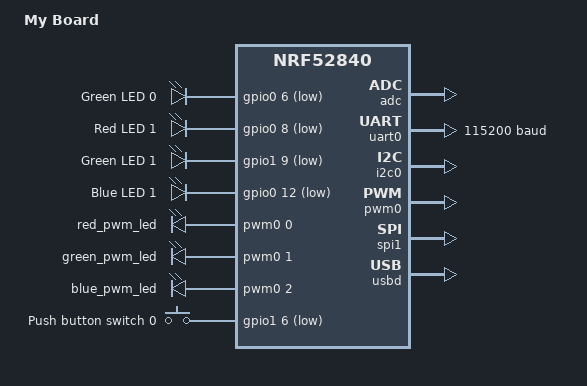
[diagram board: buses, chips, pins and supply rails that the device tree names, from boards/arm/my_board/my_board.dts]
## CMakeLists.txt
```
list(APPEND OVERLAY_CONFIG "ble.conf")
list(APPEND OVERLAY_CONFIG "home-assistant.conf")
list(APPEND OVERLAY_CONFIG "secret.conf")

cmake_minimum_required(VERSION 3.20.0)
list(APPEND BOARD_ROOT ${CMAKE_CURRENT_SOURCE_DIR})
find_package(Zephyr REQUIRED HINTS $ENV{ZEPHYR_BASE})

execute_process(COMMAND git describe
                WORKING_DIRECTORY ${CMAKE_CURRENT_SOURCE_DIR}
                OUTPUT_VARIABLE GIT_DESCRIBE
                ERROR_QUIET)
string(STRIP "${GIT_DESCRIBE}" GIT_DESCRIBE)
STRING(REGEX MATCH "[0-9]+\\.[0-9]+\\.[0-9]+"
       VERSION "${GIT_DESCRIBE}")

project(app LANGUAGES C VERSION ${VERSION})


configure_file(app_version.h.in ${CMAKE_BINARY_DIR}/app/include/app_version.h)
zephyr_include_directories(
    ${CMAKE_BINARY_DIR}/app/include
)
target_include_directories(app PRIVATE ${CMAKE_BINARY_DIR}/app/include src)

zephyr_include_directories(
       configuration/${BOARD})

target_sources(app PRIVATE
        src/main.c)
```

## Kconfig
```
mainmenu "Main Application"

config APP_SUSPEND_CONSOLE
	bool "Suspend console"
	help
	  Suspend console.

config APP_WATCHDOG_TIMEOUT_SEC
	int "Watchdog timeout (sec)"
	default 30
	help
	  Watchdog timeout in seconds.

config APP_MAIN_LOOP_PERIOD_SEC
	int "Main loop period (sec)"
	default 10
	help
	  Main loop period in seconds.

source "Kconfig.zephyr"
```

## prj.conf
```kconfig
CONFIG_SERIAL=y
CONFIG_HEAP_MEM_POOL_SIZE=2048

CONFIG_PM_DEVICE=y

CONFIG_CAF=y
CONFIG_CAF_BUTTONS=y
CONFIG_CAF_BUTTONS_POLARITY_INVERSED=y

CONFIG_MY_MODULE_BASE_RESET=y
CONFIG_MY_MODULE_BASE_WATCHDOG=y
CONFIG_MY_MODULE_BASE_WATCHDOG_TIMEOUT_SEC=30

CONFIG_MY_MODULE_BASE_HOME_ASSISTANT=y
CONFIG_MY_MODULE_BASE_HA_DEVICE_NAME="SOLIX F2000"
CONFIG_MY_MODULE_BASE_HA_DEV_TYPE_POWER_STATION=y
CONFIG_MY_MODULE_BASE_HA_MQTT_SERVER_HOSTNAME="home.home.arpa"

#CONFIG_MAIN_STACK_SIZE=4096
#CONFIG_SYSTEM_WORKQUEUE_STACK_SIZE=2048
CONFIG_LOG_BUFFER_SIZE=16384

CONFIG_THREAD_NAME=y
CONFIG_EVENTS=y
CONFIG_CONSOLE=y
CONFIG_UART_CONSOLE=y

CONFIG_THREAD_ANALYZER=y
CONFIG_LOG_SPEED=y
CONFIG_LOG=y
```

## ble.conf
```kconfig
CONFIG_BT_BUF_ACL_TX_SIZE=251
CONFIG_BT_BUF_ACL_RX_SIZE=251
CONFIG_BT_L2CAP_TX_MTU=247
CONFIG_BT_CTLR_DATA_LENGTH_MAX=251
CONFIG_BT_SCAN=y
CONFIG_BT_SCAN_FILTER_ENABLE=y
CONFIG_BT_SCAN_NAME_CNT=1
CONFIG_BT_SCAN_CONN_ATTEMPTS_FILTER=y
CONFIG_BT_CENTRAL=y
CONFIG_BT_BROADCASTER=y
CONFIG_BT_EXT_ADV=y
CONFIG_BT_PER_ADV=y
CONFIG_BT_GATT_LOG_LEVEL_DBG=y
# CONFIG_BT_LOG_LEVEL_DBG=y
CONFIG_BT_GATT_CLIENT=y
CONFIG_BT_GATT_AUTO_UPDATE_MTU=y
# CONFIG_BT_GATT_AUTO_DISCOVER_CCC=y
CONFIG_BT=y
# CONFIG_BT_LL_SW_SPLIT=y
CONFIG_BT_CTLR_PRIVACY=y
CONFIG_BT_CTLR_PHY_CODED=y
CONFIG_BT_CTLR_ADV_DATA_LEN_MAX=31
# CONFIG_BT_CTLR_ADV_PERIODIC_ADI_SUPPORT is not set
# CONFIG_BT_HCI_RAW=y
```

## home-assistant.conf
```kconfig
CONFIG_MY_MODULE_BASE_HOME_ASSISTANT=y
CONFIG_MY_MODULE_BASE_HA_DEVICE_NAME="SOLIX F2000"
CONFIG_MY_MODULE_BASE_HA_DEV_TYPE_POWER_STATION=y
CONFIG_MY_MODULE_BASE_HA_MQTT_SERVER_HOSTNAME="home.home.arpa"

CONFIG_OPENTHREAD_CHANNEL=15
CONFIG_OPENTHREAD_NETWORK_NAME="home"
CONFIG_OPENTHREAD_XPANID="42:24:00:00:00:00:10:00"
CONFIG_OPENTHREAD_MTD=y
CONFIG_OPENTHREAD_MTD_SED=y

CONFIG_MY_MODULE_BASE_HA_USE_TEST_DISCOVERY_TOPIC=y

CONFIG_DNS_SERVER_IP_ADDRESSES=y
CONFIG_DNS_SERVER1="fd04:2240::1"
```

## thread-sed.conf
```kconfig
CONFIG_OPENTHREAD_CHANNEL=15
CONFIG_OPENTHREAD_NETWORK_NAME="home"
CONFIG_OPENTHREAD_XPANID="42:24:00:00:00:00:10:00"
# CONFIG_OPENTHREAD_MTD_SED=y

CONFIG_MY_MODULE_BASE_HA_USE_TEST_DISCOVERY_TOPIC=y
```

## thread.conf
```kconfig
CONFIG_OPENTHREAD_CHANNEL=15
CONFIG_OPENTHREAD_NETWORK_NAME="home"
CONFIG_OPENTHREAD_XPANID="42:24:00:00:00:00:10:00"
CONFIG_OPENTHREAD_MTD=y
CONFIG_OPENTHREAD_MTD_SED=y

CONFIG_MY_MODULE_BASE_HA_USE_TEST_DISCOVERY_TOPIC=y
```

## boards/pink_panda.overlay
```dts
/ {
	/*
	* In some default configurations within the nRF Connect SDK,
	* e.g. on nRF52840, the chosen zephyr,entropy node is &cryptocell.
	* This devicetree overlay ensures that default is overridden wherever it
	* is set, as this application uses the RNG node for entropy exclusively.
	*/
	chosen {
		zephyr,entropy = &rng;
		// zephyr,bt-hci = &bt_hci_controller;
	};
};
&pinctrl {
	i2c0_default: i2c0_default {
		group1 {
			psels = <NRF_PSEL(TWIM_SDA, 0, 26)>,
				<NRF_PSEL(TWIM_SCL, 0, 27)>;
		};
	};

	i2c0_sleep: i2c0_sleep {
		group1 {
			psels = <NRF_PSEL(TWIM_SDA, 0, 26)>,
				<NRF_PSEL(TWIM_SCL, 0, 27)>;
			low-power-enable;
		};
	};

	i2c1_default: i2c1_default {
		group1 {
			psels = <NRF_PSEL(TWIM_SDA, 0, 30)>,
				<NRF_PSEL(TWIM_SCL, 0, 31)>;
		};
	};

	i2c1_sleep: i2c1_sleep {
		group1 {
			psels = <NRF_PSEL(TWIM_SDA, 0, 30)>,
				<NRF_PSEL(TWIM_SCL, 0, 31)>;
			low-power-enable;
		};
	};

	pwm0_default: pwm0_default {
		group1 {
			psels = <NRF_PSEL(PWM_OUT0, 0, 8)>,
				<NRF_PSEL(PWM_OUT1, 1, 9)>,
				<NRF_PSEL(PWM_OUT2, 0, 12)>;
			nordic,invert;
		};
	};

	pwm0_sleep: pwm0_sleep {
		group1 {
			psels = <NRF_PSEL(PWM_OUT0, 0, 8)>,
				<NRF_PSEL(PWM_OUT1, 1, 9)>,
				<NRF_PSEL(PWM_OUT2, 0, 12)>;
			low-power-enable;
		};
	};

	spi0_default: spi0_default {
		group1 {
			psels = <NRF_PSEL(SPIM_SCK, 0, 27)>,
				<NRF_PSEL(SPIM_MOSI, 0, 26)>,
				<NRF_PSEL(SPIM_MISO, 1, 10)>;
		};
	};

	spi0_sleep: spi0_sleep {
		group1 {
			psels = <NRF_PSEL(SPIM_SCK, 0, 27)>,
				<NRF_PSEL(SPIM_MOSI, 0, 26)>,
				<NRF_PSEL(SPIM_MISO, 1, 10)>;
			low-power-enable;
		};
	};

	spi1_default: spi1_default {
		group1 {
			psels = <NRF_PSEL(SPIM_SCK, 0, 31)>,
				<NRF_PSEL(SPIM_MOSI, 0, 30)>,
				<NRF_PSEL(SPIM_MISO, 1, 13)>;
		};
	};

	spi1_sleep: spi1_sleep {
		group1 {
			psels = <NRF_PSEL(SPIM_SCK, 0, 31)>,
				<NRF_PSEL(SPIM_MOSI, 0, 30)>,
				<NRF_PSEL(SPIM_MISO, 1, 13)>;
			low-power-enable;
		};
	};

};
&adc {
	status = "disabled";
};
&uart1 {
	status = "disabled";
};
&pwm0 {
	status = "disabled";
};
&i2c0 {
	status = "disabled";
};
&spi0 {
	status = "disabled";
};
&spi1 {
	status = "disabled";
};
&spi2 {
	status = "disabled";
};
&spi3 {
	status = "disabled";
};
&qspi {
	status = "disabled";
};
&usbd {
	status = "disabled";
};
&gpio0 {
	status = "okay";
};
&gpio1 {
	status = "disabled";
};
&gpiote {
    status = "okay";
};
&ieee802154 {
	status = "okay";
};
// &bt_hci_controller {
//         status = "okay";
// };
// &bt_hci_sdc {
//         status = "disabled";
// };
```

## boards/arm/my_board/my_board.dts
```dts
/*
 * Copyright (c) 2018 Nordic Semiconductor ASA
 * Copyright (c) 2017 Linaro Limited
 *
 * SPDX-License-Identifier: Apache-2.0
 */

/dts-v1/;
#include <nordic/nrf52840_qiaa.dtsi>
#include "my_board-pinctrl.dtsi"

/ {
	model = "My Board";
	compatible = "gervais,my-board";

	chosen {
		zephyr,console = &uart0;
		zephyr,shell-uart = &uart0;
		zephyr,uart-mcumgr = &uart0;
		zephyr,bt-mon-uart = &uart0;
		zephyr,bt-c2h-uart = &uart0;
		zephyr,sram = &sram0;
		zephyr,flash = &flash0;
		zephyr,code-partition = &slot0_partition;
	};

	leds {
		compatible = "gpio-leds";
		led0_green: led_0 {
			gpios = <&gpio0 6 GPIO_ACTIVE_LOW>;
			label = "Green LED 0";
		};
		led1_red: led_1 {
			gpios = <&gpio0 8 GPIO_ACTIVE_LOW>;
			label = "Red LED 1";
		};
		led1_green: led_2 {
			gpios = <&gpio1 9 GPIO_ACTIVE_LOW>;
			label = "Green LED 1";
		};
		led1_blue: led_3 {
			gpios = <&gpio0 12 GPIO_ACTIVE_LOW>;
			label = "Blue LED 1";
		};
	};

	pwmleds {
		compatible = "pwm-leds";
		red_pwm_led: pwm_led_0 {
			pwms = <&pwm0 0 PWM_MSEC(20) PWM_POLARITY_INVERTED>;
		};
		green_pwm_led: pwm_led_1 {
			pwms = <&pwm0 1 PWM_MSEC(20) PWM_POLARITY_INVERTED>;
		};
		blue_pwm_led: pwm_led_2 {
			pwms = <&pwm0 2 PWM_MSEC(20) PWM_POLARITY_INVERTED>;
		};
	};

	buttons {
		compatible = "gpio-keys";
		button0: button_0 {
			gpios = <&gpio1 6 (GPIO_PULL_UP | GPIO_ACTIVE_LOW)>;
			label = "Push button switch 0";
		};
	};

	/* These aliases are provided for compatibility with samples */
	aliases {
		sw0 = &button0;
		led0 = &led0_green;
		led1 = &led1_red;
		led2 = &led1_green;
		led3 = &led1_blue;
		led0-green = &led0_green;
		led1-red   = &led1_red;
		led1-green = &led1_green;
		led1-blue  = &led1_blue;
		pwm-led0 = &red_pwm_led;
		pwm-led1 = &green_pwm_led;
		pwm-led2 = &blue_pwm_led;
		red-pwm-led = &red_pwm_led;
		green-pwm-led = &green_pwm_led;
		blue-pwm-led = &blue_pwm_led;
		mcuboot-button0 = &button0;
		mcuboot-led0 = &led0_green;
		watchdog0 = &wdt0;
	};
};

&adc {
	status = "okay";
};

&gpiote {
	status = "okay";
};

&gpio0 {
	status = "okay";
};

&gpio1 {
	status = "okay";
};

&uart0 {
	compatible = "nordic,nrf-uarte";
	status = "okay";
	current-speed = <115200>;
	pinctrl-0 = <&uart0_default>;
	pinctrl-1 = <&uart0_sleep>;
	pinctrl-names = "default", "sleep";
};

&i2c0 {
	compatible = "nordic,nrf-twi";
	status = "okay";
	pinctrl-0 = <&i2c0_default>;
	pinctrl-1 = <&i2c0_sleep>;
	pinctrl-names = "default", "sleep";
};

&i2c1 {
	compatible = "nordic,nrf-twi";
	/* Cannot be used together with spi1. */
	/* status = "okay"; */
	pinctrl-0 = <&i2c1_default>;
	pinctrl-1 = <&i2c1_sleep>;
	pinctrl-names = "default", "sleep";
};

&pwm0 {
	status = "okay";
	pinctrl-0 = <&pwm0_default>;
	pinctrl-1 = <&pwm0_sleep>;
	pinctrl-names = "default", "sleep";
};

/*
 * By default, not adding all available SPI instances (spi2, spi3) due to
 * limited GPIOs available on dongle board.
 */
&spi0 {
	compatible = "nordic,nrf-spi";
	/* Cannot be used together with i2c0. */
	/* status = "okay"; */
	pinctrl-0 = <&spi0_default>;
	pinctrl-1 = <&spi0_sleep>;
	pinctrl-names = "default", "sleep";
};

&spi1 {
	compatible = "nordic,nrf-spi";
	status = "okay";
	pinctrl-0 = <&spi1_default>;
	pinctrl-1 = <&spi1_sleep>;
	pinctrl-names = "default", "sleep";
};

/* Include flash partition table.
 * Two partition tables are available:
 * fstab-stock		-compatible with Nordic nRF5 bootloader, default
 * fstab-debugger	-to use an external debugger, w/o the nRF5 bootloader
 */
#include "fstab-debugger.dts"

zephyr_udc0: &usbd {
	compatible = "nordic,nrf-usbd";
	status = "okay";
};
```

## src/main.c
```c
#include <app_event_manager.h>
#include <zephyr/drivers/gpio.h>
#include <zephyr/drivers/watchdog.h>
#include <zephyr/kernel.h>
#include <zephyr/pm/device.h>
#include <zephyr/debug/thread_analyzer.h>

#include <zephyr/bluetooth/bluetooth.h>
// #include <zephyr/bluetooth/hci.h>
// #include <zephyr/bluetooth/conn.h>
#include <zephyr/bluetooth/uuid.h>
#include <zephyr/bluetooth/gatt.h>
// #include <bluetooth/gatt_dm.h>
#include <bluetooth/scan.h>

#define MODULE main
#include <caf/events/module_state_event.h>
#include <caf/events/button_event.h>

#include <zephyr/logging/log.h>
LOG_MODULE_REGISTER(main, LOG_LEVEL_DBG);

#include <app_version.h>
#include <mymodule/base/ha.h>
#include <mymodule/base/openthread.h>
#include <mymodule/base/reset.h>
#include <mymodule/base/watchdog.h>


#define BUTTON_PRESS_EVENT		BIT(0)

// #define ADV_NAME_STR_MAX_LEN (sizeof(CONFIG_BT_DEVICE_NAME))
#define ADV_NAME_STR_MAX_LEN 64


static K_EVENT_DEFINE(button_events);


static struct bt_conn *default_conn = NULL;
static struct bt_gatt_subscribe_params subscribe_params;
static struct bt_gatt_write_params write_params;



static uint8_t last_notify_data_244[244];
static uint8_t last_notify_data_34[34];


static uint8_t iphone_init_replay[][128] = {
	{
		0xff, 0x09, 0x36, 0x00, 0x03, 0x00, 0x01, 0x00, 0x01, 0xa1, 0x04, 0xfd, 0x72, 0x6d, 0x67, 0xa2,
		0x24, 0x64, 0x35, 0x38, 0x66, 0x36, 0x38, 0x30, 0x65, 0x2d, 0x32, 0x39, 0x34, 0x37, 0x2d, 0x34,
		0x33, 0x32, 0x39, 0x2d, 0x62, 0x39, 0x63, 0x62, 0x2d, 0x63, 0x39, 0x35, 0x32, 0x30, 0x30, 0x35,
		0x34, 0x36, 0x34, 0x61, 0x35, 0x65,
	},
	{
		0xff, 0x09, 0x3d, 0x00, 0x03, 0x00, 0x01, 0x00, 0x03, 0xa1, 0x04, 0xfd, 0x72, 0x6d, 0x67, 0xa2,
		0x24, 0x64, 0x35, 0x38, 0x66, 0x36, 0x38, 0x30, 0x65, 0x2d, 0x32, 0x39, 0x34, 0x37, 0x2d, 0x34,
		0x33, 0x32, 0x39, 0x2d, 0x62, 0x39, 0x63, 0x62, 0x2d, 0x63, 0x39, 0x35, 0x32, 0x30, 0x30, 0x35,
		0x34, 0x36, 0x34, 0x61, 0x35, 0xa3, 0x01, 0x20, 0xa4, 0x02, 0x00, 0xf0, 0xb8,
	},
	{
		0xff, 0x09, 0x36, 0x00, 0x03, 0x00, 0x01, 0x00, 0x29, 0xa1, 0x04, 0xfd, 0x72, 0x6d, 0x67, 0xa2,
		0x24, 0x64, 0x35, 0x38, 0x66, 0x36, 0x38, 0x30, 0x65, 0x2d, 0x32, 0x39, 0x34, 0x37, 0x2d, 0x34,
		0x33, 0x32, 0x39, 0x2d, 0x62, 0x39, 0x63, 0x62, 0x2d, 0x63, 0x39, 0x35, 0x32, 0x30, 0x30, 0x35,
		0x34, 0x36, 0x34, 0x61, 0x35, 0x4d,
	},
	{
		0xff, 0x09, 0x40, 0x00, 0x03, 0x00, 0x01, 0x00, 0x05, 0xa1, 0x04, 0xfd, 0x72, 0x6d, 0x67, 0xa2,
		0x24, 0x64, 0x35, 0x38, 0x66, 0x36, 0x38, 0x30, 0x65, 0x2d, 0x32, 0x39, 0x34, 0x37, 0x2d, 0x34,
		0x33, 0x32, 0x39, 0x2d, 0x62, 0x39, 0x63, 0x62, 0x2d, 0x63, 0x39, 0x35, 0x32, 0x30, 0x30, 0x35,
		0x34, 0x36, 0x34, 0x61, 0x35, 0xa3, 0x01, 0x20, 0xa4, 0x02, 0x00, 0xf0, 0xa5, 0x01, 0x02, 0x65,
	},
	{
		0xff, 0x09, 0x5a, 0x00, 0x03, 0x00, 0x01, 0x40, 0x22, 0x4e, 0xe0, 0xfe, 0x87, 0xd5, 0xb4, 0xf2,
		0x5f, 0x17, 0x0e, 0xbf, 0x6e, 0xcd, 0xea, 0xaf, 0x3f, 0x84, 0x2a, 0xe7, 0x10, 0x9c, 0x9e, 0x2d,
		0xf7, 0x66, 0x4e, 0xf5, 0x59, 0xbe, 0x7f, 0xc9, 0x8f, 0x46, 0x0d, 0x60, 0xbd, 0x32, 0x2a, 0x83,
		0xbd, 0xb2, 0xcf, 0x3c, 0xbb, 0x71, 0x25, 0xc3, 0x45, 0xe0, 0x49, 0x09, 0x48, 0x1a, 0x48, 0xd2,
		0xd9, 0xba, 0xcb, 0x6a, 0x50, 0xdd, 0xdf, 0xb2, 0x10, 0x71, 0x6e, 0x2c, 0xd9, 0x7e, 0x05, 0x51,
		0xc1, 0x1c, 0xa3, 0xd1, 0x1a, 0x10, 0x49, 0x5a, 0xaf, 0x31,
	},
};


static bool adv_data_parse_cb(struct bt_data *data, void *user_data)
{
        char *name = user_data;
        uint8_t len;

        switch (data->type) {
        case BT_DATA_NAME_SHORTENED:
        case BT_DATA_NAME_COMPLETE:
                len = MIN(data->data_len, ADV_NAME_STR_MAX_LEN - 1);
                memcpy(name, data->data, len);
                name[len] = '\0';
                return false;
        default:
                return true;
        }
}

static void scan_filter_match(struct bt_scan_device_info *device_info,
			      struct bt_scan_filter_match *filter_match,
			      bool connectable)
{
	char addr[BT_ADDR_LE_STR_LEN];

	bt_addr_le_to_str(device_info->recv_info->addr, addr, sizeof(addr));

	printk("Filters matched. Address: %s connectable: %s\n",
		addr, connectable ? "yes" : "no");
}

static void scan_connecting_error(struct bt_scan_device_info *device_info)
{
	LOG_ERR("scan_connecting_error");
}

static void scan_connecting(struct bt_scan_device_info *device_info,
			    struct bt_conn *conn)
{
	LOG_INF("scan_connecting");
	default_conn = bt_conn_ref(conn);
}

static void scan_filter_no_match(struct bt_scan_device_info *device_info,
				 bool connectable)
{
	// int err;
	// struct bt_conn *conn = NULL;
	char addr[BT_ADDR_LE_STR_LEN];
	char name_str[ADV_NAME_STR_MAX_LEN] = {0};

	// if (device_info->recv_info->adv_type == BT_GAP_ADV_TYPE_ADV_DIRECT_IND) {
	// 	bt_addr_le_to_str(device_info->recv_info->addr, addr,
	// 			  sizeof(addr));
	// 	printk("Direct advertising received from %s\n", addr);
	// 	bt_scan_stop();

	// 	err = bt_conn_le_create(device_info->recv_info->addr,
	// 				BT_CONN_LE_CREATE_CONN,
	// 				device_info->conn_param, &conn);

	// 	if (!err) {
	// 		default_conn = bt_conn_ref(conn);
	// 		bt_conn_unref(conn);
	// 	}
	// }

	bt_addr_le_to_str(device_info->recv_info->addr, addr,
				  sizeof(addr));

	bt_data_parse(device_info->adv_data, adv_data_parse_cb, name_str);

	if (strlen(name_str) > 0) {
		LOG_INF("no_match: %s", name_str);
	}
}

BT_SCAN_CB_INIT(scan_cb, scan_filter_match, scan_filter_no_match,
		scan_connecting_error, scan_connecting);

static void scan_init(void)
{
	int ret;

	struct bt_scan_init_param scan_init = {
		.connect_if_match = 1,
		.scan_param = NULL,
		.conn_param = BT_LE_CONN_PARAM_DEFAULT
	};

	bt_scan_init(&scan_init);
	bt_scan_cb_register(&scan_cb);

	// err = bt_scan_filter_add(BT_SCAN_FILTER_TYPE_UUID, BT_UUID_BAS);
	// if (err) {
	// 	printk("Scanning filters cannot be set (err %d)\n", err);

	// 	return;
	// }

	// err = bt_scan_filter_enable(BT_SCAN_UUID_FILTER, false);
	// if (err) {
	// 	printk("Filters cannot be turned on (err %d)\n", err);
	// }

	ret = bt_scan_filter_add(BT_SCAN_FILTER_TYPE_NAME, "Anker SOLIX F2000");
	if (ret) {
		printk("Scanning filters cannot be set (ret %d)\n", ret);

		return;
	}

	ret = bt_scan_filter_enable(BT_SCAN_NAME_FILTER, false);
	if (ret) {
		printk("Filters cannot be turned on (ret %d)\n", ret);
	}
}


/**
 * Internal function to process report notification and pass it further.
 *
 * @param conn   Connection handler.
 * @param params Notification parameters structure - the pointer
 *               to the structure provided to subscribe function.
 * @param data   Pointer to the data buffer.
 * @param length The size of the received data.
 *
 * @retval BT_GATT_ITER_STOP     Stop notification
 * @retval BT_GATT_ITER_CONTINUE Continue notification
 */
static uint8_t notify_process(struct bt_conn *conn,
                           struct bt_gatt_subscribe_params *params,
                           const void *data, uint16_t length)
{
	uint8_t xor_buffer[256];
	uint8_t *last_notify_data;
	size_t data_length;
	int i;
	const uint8_t *notify_data = data;

	LOG_INF("notify_process");

        // struct bt_bnotify_processs_client *bas;
        // uint8_t battery_level;
        // const uint8_t *bdata = data;

        // bas = CONTAINER_OF(params, struct bt_bas_client, notify_params);
        // if (!data || !length) {
        //         LOG_INF("Notifications disabled.");
        //         if (bas->notify_cb) {
        //                 bas->notify_cb(bas, BT_BAS_VAL_INVALID);
        //         }
        //         return BT_GATT_ITER_STOP;
        // }
        // if (length != 1) {
        //         LOG_ERR("Unexpected notification value size.");
        //         if (bas->notify_cb) {
        //                 bas->notify_cb(bas, BT_BAS_VAL_INVALID);
        //         }
        //         return BT_GATT_ITER_STOP;
        // }

        // battery_level = bdata[0];
        // if (battery_level > BT_BAS_VAL_MAX) {
        //         LOG_ERR("Unexpected notification value.");
        //         if (bas->notify_cb) {
        //                 bas->notify_cb(bas, BT_BAS_VAL_INVALID);
        //         }
        //         return BT_GATT_ITER_STOP;
        // }
        // bas->battery_level = battery_level;
        // if (bas->notify_cb) {
        //         bas->notify_cb(bas, battery_level);
        // }

	// LOG_HEXDUMP_INF(data, length, "notify data:");

	data_length = notify_data[2];

	if (data_length == 244) {
		last_notify_data = last_notify_data_244;
	}
	else if (data_length == 34) {
		last_notify_data = last_notify_data_34;
	}
	else {
		LOG_WRN("unexpected notify size");
		return BT_GATT_ITER_CONTINUE;
	}

	for (i = 0; i < data_length; i++) {
		xor_buffer[i] = last_notify_data[i] ^ notify_data[i];
	}

	LOG_HEXDUMP_INF(xor_buffer, length, "notify data XOR:");

	memcpy(last_notify_data, notify_data, data_length);


        return BT_GATT_ITER_CONTINUE;
}


static bool subscribed;
static bool disconnect_sent;


static void write_callback(struct bt_conn *conn, uint8_t err,
			   struct bt_gatt_write_params *params)
{
        LOG_DBG("write_callback: err=%d", err);
}


int main(void)
{
	const struct device *wdt = DEVICE_DT_GET(DT_NODELABEL(wdt0));
#if defined(CONFIG_APP_SUSPEND_CONSOLE)
	const struct device *cons = DEVICE_DT_GET(DT_CHOSEN(zephyr_console));
#endif
	int ret;
	uint32_t reset_cause;
	int main_wdt_chan_id = -1;
	uint32_t events;
	int i;

	ret = watchdog_new_channel(wdt, &main_wdt_chan_id);
	if (ret < 0) {
		LOG_ERR("Could allocate main watchdog channel");
		return ret;
	}

	// ret = watchdog_start(wdt);
	// if (ret < 0) {
	// 	LOG_ERR("Could allocate start watchdog");
	// 	return ret;
	// }

	LOG_INF("\n\n🚀 MAIN START (%s) 🚀\n", APP_VERSION_FULL);

	reset_cause = show_reset_cause();
	clear_reset_cause();
	
	if (app_event_manager_init()) {
		LOG_ERR("Event manager not initialized");
	} else {
		module_set_state(MODULE_STATE_READY);
	}

	LOG_INF("🆗 initialized");

#if defined(CONFIG_APP_SUSPEND_CONSOLE)
	ret = pm_device_action_run(cons, PM_DEVICE_ACTION_SUSPEND);
	if (ret < 0) {
		LOG_ERR("Could not suspend the console");
		return ret;
	}
#endif




	ret = bt_enable(NULL);
	if (ret) {
		LOG_ERR("Bluetooth init failed (ret %d)", ret);
		return 0;
	}

	scan_init();

	ret = bt_scan_start(BT_SCAN_TYPE_SCAN_ACTIVE);
	if (ret) {
		LOG_ERR("Scanning failed to start (ret %d)", ret);
		return 0;
	}

	LOG_INF("Scanning successfully started");


	k_sleep(K_SECONDS(5));


	bt_scan_stop();


	thread_analyzer_print(0);

	LOG_INF("┌──────────────────────────────────────────────────────────┐");
	LOG_INF("│ Entering main loop                                       │");
	LOG_INF("└──────────────────────────────────────────────────────────┘");

	while (1) {
		LOG_INF("💤 waiting for events");
		events = k_event_wait(&button_events,
				(BUTTON_PRESS_EVENT),
				true,
				K_SECONDS(CONFIG_APP_MAIN_LOOP_PERIOD_SEC));

		LOG_INF("⏰ events: %08x", events);


		if (!subscribed) {
			k_sleep(K_SECONDS(2));

			LOG_DBG("Trying to subscribe");

			subscribed = true;

			subscribe_params.notify = notify_process;
			subscribe_params.value = BT_GATT_CCC_NOTIFY;
			subscribe_params.value_handle = 0x0e;
			subscribe_params.ccc_handle = 0x0f;
			atomic_set_bit(subscribe_params.flags,
			       BT_GATT_SUBSCRIBE_FLAG_VOLATILE);

			ret = bt_gatt_subscribe(default_conn, &subscribe_params);
			if (ret) {
				LOG_ERR("Report notification subscribe error: %d.", ret);
			}
			LOG_DBG("Subscription sent");

			k_sleep(K_SECONDS(2));



			write_params.func = write_callback;
		        write_params.handle = 0x0c;
		        write_params.offset = 0;

			for (i = 0; i < ARRAY_SIZE(iphone_init_replay); i++) {
				LOG_HEXDUMP_INF(iphone_init_replay[i],
						iphone_init_replay[i][2],
						"iphone_init_replay:");

				write_params.data = iphone_init_replay[i];
				write_params.length = iphone_init_replay[i][2];

				ret = bt_gatt_write(default_conn, &write_params);
				if (ret) {
					LOG_ERR("Could not write: %d.", ret);
				}
				else {
					LOG_DBG("Write sent");
				}
			}


			k_sleep(K_SECONDS(5));


			ret = openthread_my_start();
			if (ret < 0) {
				LOG_ERR("Could not start openthread");
				return ret;
			}

			LOG_INF("💤 waiting for openthread to be ready");
			openthread_wait(OT_ROLE_SET | 
					OT_MESH_LOCAL_ADDR_SET | 
					OT_HAS_NEIGHBORS);


			bool inhibit_discovery = false;
			bool enable_last_will = true;
			ha_start(inhibit_discovery, enable_last_will);







			
		        // write_params.data = write_data1;
		        // write_params.length = ARRAY_SIZE(write_data1);

		        // ret = bt_gatt_write(default_conn, &write_params);
		        // if (ret) {
			// 	LOG_ERR("Could not write: %d.", ret);
			// }
			// LOG_DBG("Write sent");

			// k_sleep(K_SECONDS(1));

		        // write_params.data = write_data2;
		        // write_params.length = ARRAY_SIZE(write_data2);

		        // ret = bt_gatt_write(default_conn, &write_params);
		        // if (ret) {
			// 	LOG_ERR("Could not write: %d.", ret);
			// }
			// LOG_DBG("Write sent");

			// k_sleep(K_SECONDS(1));

		        // write_params.data = write_data3;
		        // write_params.length = ARRAY_SIZE(write_data3);

		        // ret = bt_gatt_write(default_conn, &write_params);
		        // if (ret) {
			// 	LOG_ERR("Could not write: %d.", ret);
			// }
			// LOG_DBG("Write sent");

			// k_sleep(K_SECONDS(1));

		        // write_params.data = write_data4;
		        // write_params.length = ARRAY_SIZE(write_data4);

		        // ret = bt_gatt_write(default_conn, &write_params);
		        // if (ret) {
			// 	LOG_ERR("Could not write: %d.", ret);
			// }
			// LOG_DBG("Write sent");

			// k_sleep(K_SECONDS(1));

		        // write_params.data = write_data5;
		        // write_params.length = ARRAY_SIZE(write_data5);

		        // ret = bt_gatt_write(default_conn, &write_params);
		        // if (ret) {
			// 	LOG_ERR("Could not write: %d.", ret);
			// }
			// LOG_DBG("Write sent");

		}

		if (!disconnect_sent && k_uptime_get() > 60000) {
			ret = bt_conn_disconnect(default_conn,
				BT_HCI_ERR_REMOTE_USER_TERM_CONN);
			if (ret) {
				LOG_ERR("Could not disconnect: %d.", ret);
			}
			else {
				LOG_DBG("⛓️‍💥 Disconnect sent");
			}

			disconnect_sent = true;
		}

		if (events & BUTTON_PRESS_EVENT) {
			LOG_INF("handling button press event");
		}

		LOG_INF("🦴 feed watchdog");
		wdt_feed(wdt, main_wdt_chan_id);
	}

	return 0;
}

static bool event_handler(const struct app_event_header *eh)
{
	const struct button_event *evt;

	if (is_button_event(eh)) {
		evt = cast_button_event(eh);

		if (evt->pressed) {
			LOG_INF("🛎️  Button pressed");
			k_event_post(&button_events, BUTTON_PRESS_EVENT);
		}
	}

	return true;
}

APP_EVENT_LISTENER(MODULE, event_handler);
APP_EVENT_SUBSCRIBE(MODULE, button_event);
```

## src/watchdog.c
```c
#include <zephyr/drivers/watchdog.h>
#include <zephyr/kernel.h>

#include <zephyr/logging/log.h>
LOG_MODULE_REGISTER(watchdog, LOG_LEVEL_DBG);

#include "watchdog.h"


static int watchdog_new_channel(const struct device *wdt)
{
	int ret;

	struct wdt_timeout_cfg wdt_config = {
		.window.min = 0,
		.window.max = CONFIG_APP_WATCHDOG_TIMEOUT_SEC * MSEC_PER_SEC,
		.callback = NULL,
		.flags = WDT_FLAG_RESET_SOC,
	};

	ret = wdt_install_timeout(wdt, &wdt_config);
	if (ret < 0) {
		LOG_ERR("watchdog install error");
	}

	return ret;
}

int watchdog_init(const struct device *wdt,
		  int *main_channel_id)
{
	int ret;

	if (!device_is_ready(wdt)) {
		LOG_ERR("%s: device not ready", wdt->name);
		return -ENODEV;
	}

	ret = watchdog_new_channel(wdt);
	if (ret < 0) {
		LOG_ERR("Could not create a new watchdog channel");
		return ret;
	}

	*main_channel_id = ret;
	LOG_INF("main watchdog channel id: %d", *main_channel_id);

	ret = wdt_setup(wdt, WDT_OPT_PAUSE_HALTED_BY_DBG);
	if (ret < 0) {
		LOG_ERR("watchdog setup error");
		return 0;
	}

	LOG_INF("🐶 watchdog started!");

	return 0;
}
```

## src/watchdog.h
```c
#ifndef WATCHDOG_H_
#define WATCHDOG_H_

int watchdog_init(const struct device *wdt,
		  int *main_channel_id);

#endif /* WATCHDOG_H_ */
```
